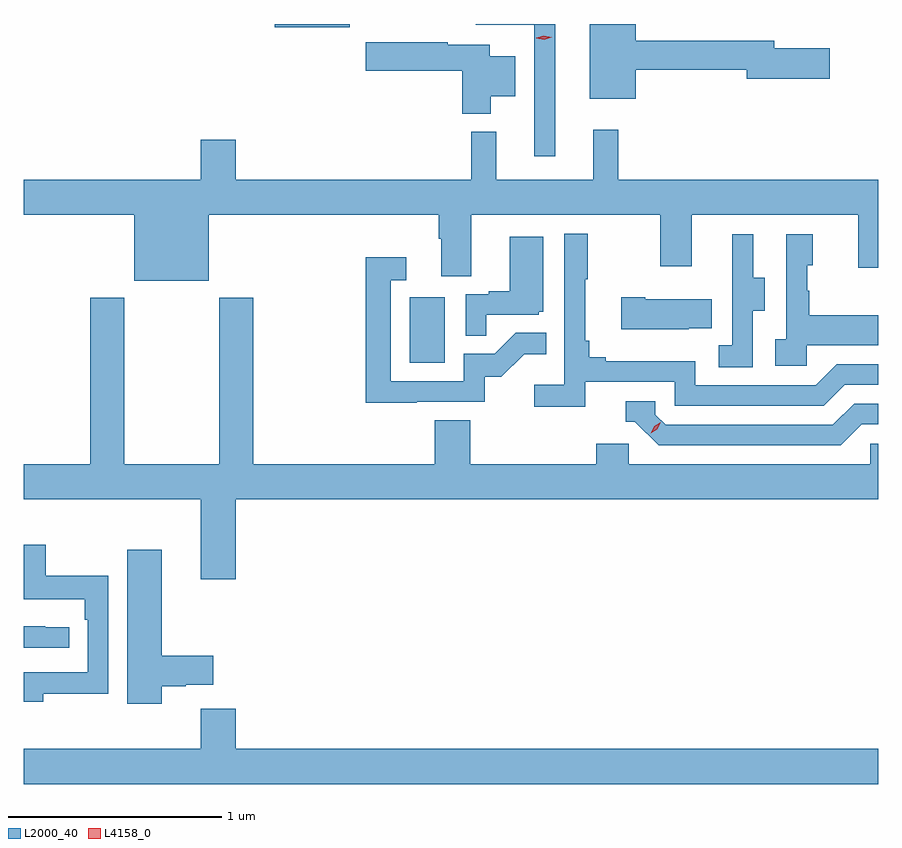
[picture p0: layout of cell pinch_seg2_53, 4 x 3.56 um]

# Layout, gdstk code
import gdstk
lib = gdstk.Library(unit=1e-6, precision=1e-09)
def R(c, l, rs):  # rectangles x0, y0, x1, y1
    for r in rs: c.add(gdstk.rectangle(r[:2], r[2:], *l))
def P(c, l, *ps):  # polygons
    for p in ps: c.add(gdstk.Polygon(p, *l))
L2000_40 = (2000, 40)
L4158_0 = (4158, 0)

pinch_seg2_53 = lib.new_cell('pinch_seg2_53')
R(pinch_seg2_53, L2000_40, [(1065.086,664.26,1065.25,664.567), (1064.454,665.831,1064.806,665.846)])
P(pinch_seg2_53, L2000_40, [(1065.766,665.846),(1065.395,665.846),(1065.395,665.843),(1065.669,665.843),(1065.669,665.226),(1065.766,665.226)],
  [(1066.144,665.632),(1066.664,665.632),(1066.664,665.59),(1067.053,665.59),(1067.053,665.732),(1066.792,665.732),(1066.792,665.768),(1066.144,665.768),(1066.144,665.846),(1065.929,665.846),(1065.929,665.495),(1066.144,665.495)],
  [(1065.466,665.507),(1065.58,665.507),(1065.58,665.695),(1065.46,665.695),(1065.46,665.749),(1065.264,665.749),(1065.264,665.761),(1064.88,665.761),(1064.88,665.627),(1065.332,665.627),(1065.332,665.426),(1065.466,665.426)],
  [(1064.146,664.952),(1065.221,664.952),(1065.221,664.84),(1065.233,664.84),(1065.233,664.666),(1065.373,664.666),(1065.373,664.952),(1066.258,664.952),(1066.258,664.713),(1066.405,664.713),(1066.405,664.952),(1067.186,664.952),(1067.186,664.704),(1067.279,664.704),(1067.279,665.116),(1066.061,665.116),(1066.061,665.35),(1065.944,665.35),(1065.944,665.116),(1065.491,665.116),(1065.491,665.341),(1065.373,665.341),(1065.373,665.116),(1064.272,665.116),(1064.272,665.305),(1064.108,665.305),(1064.108,665.116),(1063.279,665.116),(1063.279,664.952),(1063.796,664.952),(1063.796,664.643),(1064.146,664.643)],
  [(1065.908,664.17),(1066.326,664.17),(1066.326,664.059),(1067.023,664.059),(1067.122,664.158),(1067.279,664.158),(1067.279,664.254),(1067.085,664.254),(1066.986,664.155),(1066.422,664.155),(1066.422,664.267),(1066.003,664.267),(1066.003,664.286),(1065.926,664.286),(1065.926,664.363),(1065.907,664.363),(1065.907,664.651),(1065.919,664.651),(1065.919,664.864),(1065.81,664.864),(1065.81,664.156),(1065.669,664.156),(1065.669,664.054),(1065.908,664.054)],
  [(1066.692,664.504),(1066.747,664.504),(1066.747,664.659),(1066.693,664.659),(1066.693,664.861),(1066.595,664.861),(1066.595,664.647),(1066.596,664.647),(1066.596,664.343),(1066.533,664.343),(1066.533,664.24),(1066.692,664.24)],
  [(1066.944,664.343),(1067.279,664.343),(1067.279,664.483),(1066.957,664.483),(1066.957,664.598),(1066.947,664.598),(1066.947,664.716),(1066.972,664.716),(1066.972,664.861),(1066.848,664.861),(1066.848,664.37),(1066.797,664.37),(1066.797,664.245),(1066.944,664.245)],
  [(1065.443,664.485),(1065.69,664.485),(1065.69,664.5),(1065.712,664.5),(1065.712,664.849),(1065.554,664.849),(1065.554,664.594),(1065.455,664.594),(1065.455,664.581),(1065.348,664.581),(1065.348,664.387),(1065.443,664.387)],
  [(1065.119,664.077),(1065.438,664.077),(1065.438,664.194),(1065.514,664.194),(1065.621,664.301),(1065.725,664.301),(1065.725,664.4),(1065.581,664.4),(1065.483,664.302),(1065.339,664.302),(1065.339,664.173),(1064.997,664.173),(1064.997,664.647),(1065.07,664.647),(1065.07,664.753),(1064.881,664.753),(1064.881,664.072),(1065.119,664.072)],
  [(1066.391,664.421),(1066.499,664.421),(1066.499,664.558),(1066.189,664.558),(1066.189,664.566),(1066.077,664.566),(1066.077,664.418),(1066.391,664.418)],
  [(1064.272,663.62),(1067.279,663.62),(1067.279,663.882),(1067.241,663.882),(1067.241,663.784),(1066.11,663.784),(1066.11,663.882),(1065.959,663.882),(1065.959,663.784),(1065.368,663.784),(1065.368,663.992),(1065.203,663.992),(1065.203,663.784),(1064.354,663.784),(1064.354,664.564),(1064.194,664.564),(1064.194,663.784),(1063.749,663.784),(1063.749,664.564),(1063.589,664.564),(1063.589,663.784),(1063.279,663.784),(1063.279,663.62),(1064.108,663.62),(1064.108,663.246),(1064.272,663.246)],
  [(1067.203,663.972),(1067.279,663.972),(1067.279,664.068),(1067.166,664.068),(1067.067,663.969),(1066.284,663.969),(1066.236,664.017),(1066.236,664.08),(1066.097,664.08),(1066.097,663.984),(1066.14,663.984),(1066.251,663.873),(1067.104,663.873)],
  [(1063.369,662.71),(1063.674,662.71),(1063.674,663.262),(1063.381,663.262),(1063.381,663.408),(1063.279,663.408),(1063.279,663.152),(1063.565,663.152),(1063.565,663.056),(1063.578,663.056),(1063.578,662.811),(1063.279,662.811),(1063.279,662.672),(1063.369,662.672)],
  [(1063.924,662.746),(1064.037,662.746),(1064.037,662.753),(1064.167,662.753),(1064.167,662.888),(1063.924,662.888),(1063.924,663.385),(1063.763,663.385),(1063.763,662.664),(1063.924,662.664)],
  [(1063.492,663.021),(1063.379,663.021),(1063.379,663.026),(1063.279,663.026),(1063.279,662.925),(1063.492,662.925)],
  [(1067.279,662.452),(1064.272,662.452),(1064.272,662.641),(1064.108,662.641),(1064.108,662.452),(1063.279,662.452),(1063.279,662.288),(1067.279,662.288)])
P(pinch_seg2_53, L4158_0, [(1066.214,663.93),(1066.214,663.93),(1066.23,663.963),(1066.261,663.982),(1066.261,663.982),(1066.261,663.982),(1066.245,663.949),(1066.214,663.93)],
  [(1065.715,665.772),(1065.679,665.78),(1065.679,665.78),(1065.679,665.781),(1065.714,665.792),(1065.75,665.783),(1065.75,665.783),(1065.75,665.783)])

lib.write_gds('pinch_seg2_53.gds')
